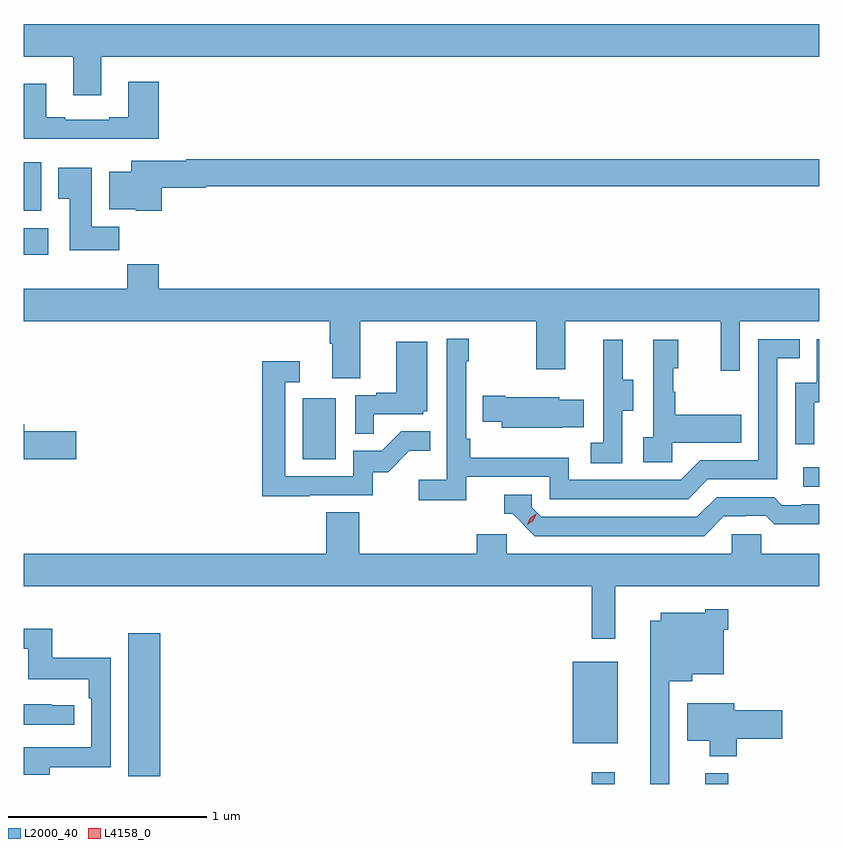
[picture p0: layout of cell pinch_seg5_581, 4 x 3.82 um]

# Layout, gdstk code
import gdstk
lib = gdstk.Library(unit=1e-6, precision=1e-09)
def R(c, l, rs):  # rectangles x0, y0, x1, y1
    for r in rs: c.add(gdstk.rectangle(r[:2], r[2:], *l))
def P(c, l, *ps):  # polygons
    for p in ps: c.add(gdstk.Polygon(p, *l))
L2000_40 = (2000, 40)
L4158_0 = (4158, 0)

pinch_seg5_581 = lib.new_cell('pinch_seg5_581')
R(pinch_seg5_581, L2000_40, [(1133.359,854.434,1133.477,854.494), (1133.93,854.434,1134.047,854.488), (1131.029,854.472,1131.19,855.193), (1133.264,854.639,1133.491,855.049), (1134.423,855.93,1134.504,856.026), (1131.908,856.068,1132.072,856.375), (1130.504,857.096,1130.626,857.23), (1130.504,857.318,1130.593,857.56)])
P(pinch_seg5_581, L2000_40, [(1130.893,858.092),(1134.504,858.092),(1134.504,858.256),(1130.504,858.256),(1130.504,858.092),(1130.753,858.092),(1130.753,857.898),(1130.893,857.898)],
  [(1131.182,857.965),(1131.029,857.965),(1131.029,857.788),(1130.933,857.788),(1130.933,857.775),(1130.713,857.775),(1130.713,857.788),(1130.617,857.788),(1130.617,857.956),(1130.504,857.956),(1130.504,857.678),(1131.182,857.678)],
  [(1131.197,857.432),(1131.42,857.432),(1131.42,857.44),(1134.504,857.44),(1134.504,857.576),(1131.32,857.576),(1131.32,857.569),(1131.044,857.569),(1131.044,857.512),(1130.933,857.512),(1130.933,857.324),(1131.066,857.324),(1131.066,857.318),(1131.197,857.318)],
  [(1130.984,857.236),(1130.845,857.236),(1130.845,857.533),(1130.678,857.533),(1130.678,857.377),(1130.735,857.377),(1130.735,857.118),(1130.984,857.118)],
  [(1132.195,856.76),(1133.08,856.76),(1133.08,856.521),(1133.227,856.521),(1133.227,856.76),(1134.008,856.76),(1134.008,856.512),(1134.105,856.512),(1134.105,856.76),(1134.504,856.76),(1134.504,856.924),(1131.182,856.924),(1131.182,857.048),(1131.025,857.048),(1131.025,856.924),(1130.504,856.924),(1130.504,856.76),(1132.043,856.76),(1132.043,856.648),(1132.055,856.648),(1132.055,856.474),(1132.195,856.474)],
  [(1132.73,855.978),(1133.148,855.978),(1133.148,855.867),(1133.845,855.867),(1133.944,855.966),(1134.294,855.966),(1134.294,856.575),(1134.407,856.575),(1134.407,856.671),(1134.198,856.671),(1134.198,856.062),(1133.907,856.062),(1133.808,855.963),(1133.244,855.963),(1133.244,856.075),(1132.748,856.075),(1132.748,856.171),(1132.728,856.171),(1132.728,856.559),(1132.741,856.559),(1132.741,856.672),(1132.632,856.672),(1132.632,855.964),(1132.491,855.964),(1132.491,855.862),(1132.73,855.862)],
  [(1134.48,856.355),(1134.504,856.355),(1134.504,856.671),(1134.492,856.671),(1134.492,856.452),(1134.384,856.452),(1134.384,856.143),(1134.48,856.143)],
  [(1133.514,856.312),(1133.569,856.312),(1133.569,856.467),(1133.515,856.467),(1133.515,856.669),(1133.417,856.669),(1133.417,856.455),(1133.418,856.455),(1133.418,856.151),(1133.355,856.151),(1133.355,856.048),(1133.514,856.048)],
  [(1133.766,856.151),(1134.113,856.151),(1134.113,856.291),(1133.779,856.291),(1133.779,856.406),(1133.769,856.406),(1133.769,856.524),(1133.794,856.524),(1133.794,856.669),(1133.67,856.669),(1133.67,856.178),(1133.619,856.178),(1133.619,856.053),(1133.766,856.053)],
  [(1132.265,856.293),(1132.512,856.293),(1132.512,856.308),(1132.534,856.308),(1132.534,856.657),(1132.376,856.657),(1132.376,856.402),(1132.277,856.402),(1132.277,856.389),(1132.17,856.389),(1132.17,856.195),(1132.265,856.195)],
  [(1131.941,855.885),(1132.26,855.885),(1132.26,856.002),(1132.336,856.002),(1132.443,856.109),(1132.547,856.109),(1132.547,856.208),(1132.403,856.208),(1132.305,856.11),(1132.161,856.11),(1132.161,855.981),(1131.819,855.981),(1131.819,856.455),(1131.892,856.455),(1131.892,856.561),(1131.703,856.561),(1131.703,855.88),(1131.941,855.88)],
  [(1133.213,856.229),(1133.321,856.229),(1133.321,856.366),(1133.196,856.366),(1133.196,856.378),(1132.924,856.378),(1132.924,856.386),(1132.813,856.386),(1132.813,856.256),(1132.907,856.256),(1132.907,856.226),(1133.213,856.226)],
  [(1130.767,856.208),(1130.506,856.208),(1130.506,856.244),(1130.504,856.244),(1130.504,856.066),(1130.767,856.066)],
  [(1134.025,855.78),(1134.132,855.78),(1134.132,855.783),(1134.235,855.783),(1134.277,855.741),(1134.504,855.741),(1134.504,855.84),(1134.415,855.84),(1134.415,855.837),(1134.316,855.837),(1134.277,855.876),(1133.988,855.876),(1133.889,855.777),(1133.106,855.777),(1133.058,855.825),(1133.058,855.888),(1132.919,855.888),(1132.919,855.792),(1132.962,855.792),(1133.073,855.681),(1133.926,855.681)],
  [(1133.478,855.428),(1134.504,855.428),(1134.504,855.592),(1134.213,855.592),(1134.213,855.69),(1134.063,855.69),(1134.063,855.592),(1132.932,855.592),(1132.932,855.69),(1132.781,855.69),(1132.781,855.592),(1132.19,855.592),(1132.19,855.8),(1132.025,855.8),(1132.025,855.592),(1130.504,855.592),(1130.504,855.428),(1133.359,855.428),(1133.359,855.165),(1133.478,855.165)],
  [(1133.751,854.951),(1133.866,854.951),(1133.866,854.987),(1134.025,854.987),(1134.025,855.209),(1134.047,855.209),(1134.047,855.313),(1133.931,855.313),(1133.931,855.295),(1133.708,855.295),(1133.708,855.256),(1133.654,855.256),(1133.654,854.434),(1133.751,854.434)],
  [(1130.635,854.518),(1130.94,854.518),(1130.94,855.07),(1130.647,855.07),(1130.647,855.216),(1130.504,855.216),(1130.504,855.115),(1130.526,855.115),(1130.526,854.96),(1130.831,854.96),(1130.831,854.864),(1130.844,854.864),(1130.844,854.619),(1130.531,854.619),(1130.531,854.62),(1130.504,854.62),(1130.504,854.48),(1130.635,854.48)],
  [(1134.089,854.662),(1134.319,854.662),(1134.319,854.804),(1134.076,854.804),(1134.076,854.839),(1133.84,854.839),(1133.84,854.651),(1133.954,854.651),(1133.954,854.573),(1134.089,854.573)],
  [(1130.758,854.829),(1130.645,854.829),(1130.645,854.834),(1130.504,854.834),(1130.504,854.733),(1130.758,854.733)])
P(pinch_seg5_581, L4158_0, [(1133.035,855.738),(1133.035,855.739),(1133.051,855.772),(1133.081,855.792),(1133.082,855.792),(1133.082,855.791),(1133.066,855.758),(1133.035,855.738)])

lib.write_gds('pinch_seg5_581.gds')
